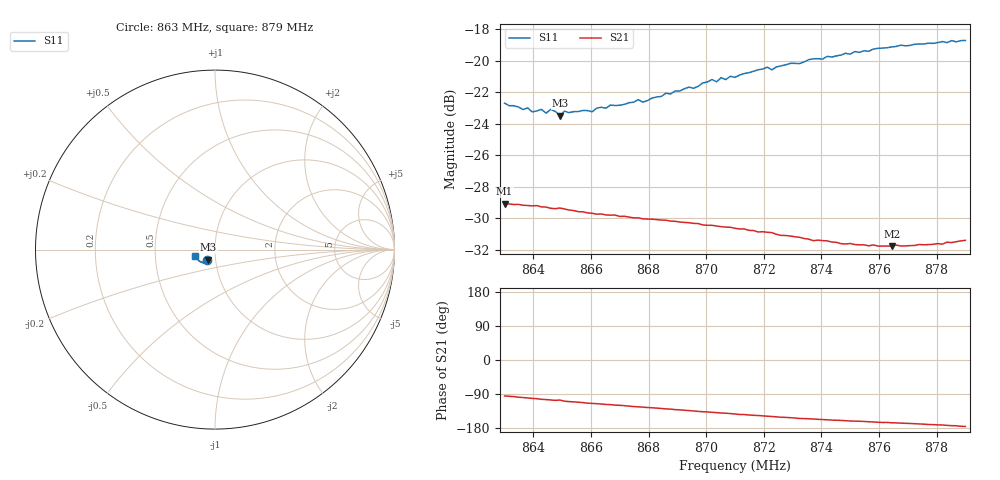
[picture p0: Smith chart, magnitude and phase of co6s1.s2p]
# HZ S RI R 50
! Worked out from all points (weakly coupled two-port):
!   101 points, 863 MHz to 879 MHz, reference 50 ohm
!   highest |S21| = -29.06 dB at 863 MHz (marker M1); lowest = -31.8 dB at 876.44 MHz (marker M2)
!   lowest |S11| = -23.5 dB at 864.92 MHz (marker M3), VSWR 1.14, Z = 46.2 - j5.21 ohm
!   |S11| at or under -10 dB: start of sweep to end of sweep
!   S12 and S22 are empty: the file has one direction only
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8.63e8  -0.0457 -0.0572  -0.00296 -0.0351  0 0  0 0
8.6364e8  -0.0417 -0.0561  -0.00548 -0.0344  0 0  0 0
8.638e8  -0.0427 -0.0565  -0.00617 -0.0342  0 0  0 0
8.6396e8  -0.041 -0.0551  -0.00682 -0.034  0 0  0 0
8.6428e8  -0.0398 -0.0576  -0.00817 -0.0334  0 0  0 0
8.6444e8  -0.0397 -0.0553  -0.00857 -0.0332  0 0  0 0
8.646e8  -0.0401 -0.0574  -0.00908 -0.0328  0 0  0 0
8.6492e8  -0.0365 -0.0561  -0.00923 -0.0328  0 0  0 0
8.6508e8  -0.0368 -0.0585  -0.0108 -0.0321  0 0  0 0
8.6572e8  -0.0366 -0.0591  -0.0126 -0.0307  0 0  0 0
8.6604e8  -0.0361 -0.0586  -0.0137 -0.0298  0 0  0 0
8.662e8  -0.0374 -0.06  -0.0139 -0.0295  0 0  0 0
8.6844e8  -0.0389 -0.0664  -0.0192 -0.0246  0 0  0 0
8.702e8  -0.0467 -0.0735  -0.0223 -0.0201  0 0  0 0
8.7036e8  -0.0464 -0.072  -0.0225 -0.0197  0 0  0 0
8.7052e8  -0.0487 -0.0735  -0.0227 -0.0192  0 0  0 0
8.71e8  -0.0503 -0.0728  -0.0234 -0.0179  0 0  0 0
8.7212e8  -0.0599 -0.0741  -0.0243 -0.015  0 0  0 0
8.7228e8  -0.0589 -0.0725  -0.0244 -0.0147  0 0  0 0
8.7372e8  -0.0706 -0.0726  -0.0245 -0.0111  0 0  0 0
8.7644e8  -0.093 -0.0596  -0.025 -0.00639  0 0  0 0
8.79e8  -0.11 -0.036  -0.0268 -0.00216  0 0  0 0
